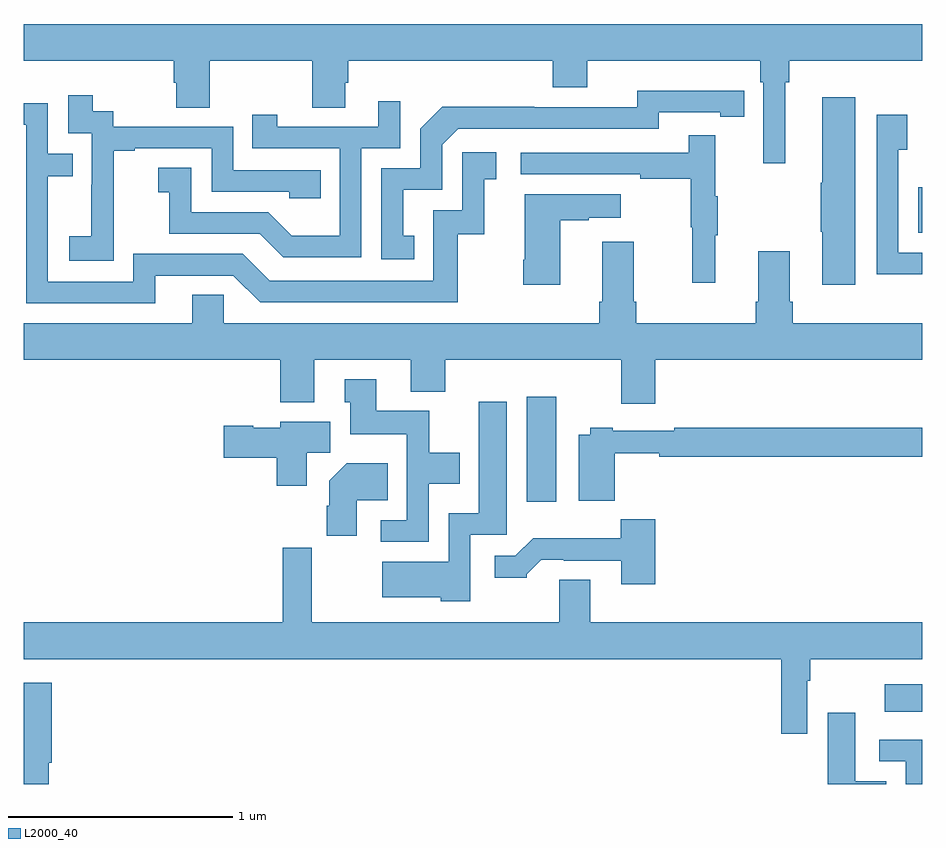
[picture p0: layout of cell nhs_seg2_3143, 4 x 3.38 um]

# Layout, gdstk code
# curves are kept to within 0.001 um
import gdstk
lib = gdstk.Library(unit=1e-6, precision=1e-09)
def R(c, l, rs):  # rectangles x0, y0, x1, y1
    for r in rs: c.add(gdstk.rectangle(r[:2], r[2:], *l))
def P(c, l, *ps):  # polygons
    for p in ps: c.add(gdstk.Polygon(p, *l))
L2000_40 = (2000, 40)

nhs_seg2_3143 = lib.new_cell('nhs_seg2_3143')
R(nhs_seg2_3143, L2000_40, [(280.833,594.122,281,594.244), (279.239,595.056,279.37,595.525), (280.982,596.255,281,596.458)])
P(nhs_seg2_3143, L2000_40, [(280.39,596.924),(280.409,596.924),(280.409,597.02),(281,597.02),(281,597.184),(277,597.184),(277,597.02),(277.667,597.02),(277.667,596.922),(277.679,596.922),(277.679,596.812),(277.827,596.812),(277.827,597.02),(278.284,597.02),(278.284,596.812),(278.431,596.812),(278.431,596.922),(278.444,596.922),(278.444,597.02),(279.356,597.02),(279.356,596.903),(279.508,596.903),(279.508,597.02),(280.28,597.02),(280.28,596.924),(280.293,596.924),(280.293,596.565),(280.39,596.565)],
  [(278.738,596.241),(278.689,596.241),(278.689,596.445),(278.862,596.445),(278.862,596.646),(278.934,596.718),(279.828,596.718),(279.828,596.79),(280.1,596.79),(280.1,596.77),(280.208,596.77),(280.208,596.886),(279.732,596.887),(279.732,596.814),(279.272,596.814),(279.272,596.816),(278.864,596.816),(278.766,596.718),(278.766,596.541),(278.592,596.541),(278.592,596.136),(278.738,596.136)],
  [(277.401,596.335),(277.4,596.335),(277.4,596.619),(277.495,596.619),(277.495,596.631),(277.836,596.631),(277.836,596.436),(278.181,596.436),(278.181,596.409),(278.321,596.409),(278.321,596.532),(277.932,596.532),(277.932,596.727),(277.398,596.727),(277.398,596.796),(277.306,596.796),(277.306,596.866),(277.197,596.866),(277.197,596.697),(277.302,596.697),(277.302,596.468),(277.301,596.468),(277.301,596.239),(277.203,596.239),(277.203,596.129),(277.401,596.129)],
  [(280.702,596.857),(280.556,596.857),(280.556,596.477),(280.549,596.477),(280.549,596.26),(280.556,596.26),(280.556,596.022),(280.702,596.022)],
  [(278.502,596.631),(278.676,596.631),(278.676,596.839),(278.579,596.839),(278.579,596.727),(278.128,596.727),(278.128,596.779),(278.017,596.779),(278.017,596.631),(278.406,596.631),(278.406,596.242),(278.192,596.242),(278.088,596.346),(277.746,596.346),(277.746,596.545),(277.599,596.545),(277.599,596.435),(277.648,596.435),(277.648,596.25),(278.051,596.25),(278.156,596.145),(278.502,596.145)],
  [(277.585,596.064),(277.932,596.064),(278.052,595.944),(278.932,595.944),(278.932,596.247),(279.05,596.247),(279.05,596.493),(279.103,596.493),(279.103,596.614),(278.952,596.614),(278.952,596.355),(278.823,596.355),(278.823,596.04),(278.094,596.04),(277.974,596.16),(277.488,596.16),(277.488,596.037),(277.107,596.037),(277.107,596.506),(277.217,596.506),(277.217,596.607),(277.107,596.607),(277.107,596.832),(277,596.832),(277,596.736),(277.011,596.736),(277.011,595.941),(277.585,595.941)],
  [(281,596.166),(280.893,596.166),(280.893,596.623),(280.933,596.623),(280.933,596.779),(280.797,596.779),(280.797,596.069),(281,596.069)],
  [(280.079,596.243),(280.09,596.243),(280.09,596.417),(280.079,596.417),(280.079,596.689),(279.961,596.689),(279.961,596.61),(279.213,596.61),(279.213,596.514),(279.745,596.514),(279.745,596.494),(279.969,596.494),(279.969,596.28),(279.976,596.28),(279.976,596.031),(280.079,596.031)],
  [(279.388,596.311),(279.515,596.311),(279.515,596.321),(279.658,596.321),(279.658,596.425),(279.23,596.425),(279.23,596.134),(279.223,596.134),(279.223,596.022),(279.388,596.022)],
  [(279.812,595.688),(281,595.688),(281,595.852),(280.424,595.852),(280.424,595.948),(280.411,595.948),(280.411,596.173),(280.271,596.173),(280.271,595.948),(280.259,595.948),(280.259,595.852),(279.728,595.852),(279.728,595.948),(279.715,595.948),(279.715,596.215),(279.575,596.215),(279.575,595.948),(279.563,595.948),(279.563,595.852),(277.89,595.852),(277.89,595.979),(277.751,595.979),(277.751,595.852),(277,595.852),(277,595.688),(278.141,595.688),(278.141,595.499),(278.293,595.499),(278.293,595.688),(278.723,595.688),(278.723,595.547),(278.876,595.547),(278.876,595.688),(279.659,595.688),(279.659,595.494),(279.812,595.494)],
  [(278.802,595.136),(278.941,595.136),(278.941,595.276),(278.805,595.276),(278.805,595.462),(278.569,595.462),(278.569,595.603),(278.429,595.603),(278.429,595.5),(278.453,595.5),(278.453,595.358),(278.706,595.358),(278.706,594.975),(278.589,594.975),(278.589,594.879),(278.802,594.879)],
  [(278.988,594.909),(279.151,594.909),(279.151,595.501),(279.026,595.501),(279.026,595.006),(278.892,595.006),(278.892,594.79),(278.595,594.79),(278.595,594.632),(278.856,594.632),(278.856,594.614),(278.988,594.614)],
  [(278.26,595.276),(278.365,595.276),(278.365,595.414),(278.142,595.414),(278.142,595.387),(278.022,595.387),(278.022,595.395),(277.89,595.395),(277.89,595.253),(278.126,595.253),(278.126,595.128),(278.26,595.128)],
  [(279.632,595.273),(279.83,595.273),(279.83,595.258),(281,595.258),(281,595.387),(279.895,595.387),(279.895,595.374),(279.622,595.374),(279.622,595.387),(279.522,595.387),(279.522,595.354),(279.47,595.354),(279.47,595.061),(279.632,595.061)],
  [(278.482,595.064),(278.621,595.064),(278.621,595.228),(278.438,595.228),(278.36,595.15),(278.36,595.04),(278.348,595.04),(278.348,594.906),(278.482,594.906)],
  [(279.812,594.979),(279.657,594.979),(279.657,594.895),(279.268,594.895),(279.189,594.816),(279.096,594.816),(279.096,594.719),(279.24,594.719),(279.24,594.734),(279.304,594.798),(279.403,594.798),(279.403,594.795),(279.659,594.795),(279.659,594.69),(279.812,594.69)],
  [(280.488,594.26),(280.501,594.26),(280.501,594.356),(281,594.356),(281,594.52),(279.523,594.52),(279.523,594.71),(279.383,594.71),(279.383,594.52),(278.281,594.52),(278.281,594.853),(278.152,594.853),(278.152,594.52),(277,594.52),(277,594.356),(280.372,594.356),(280.372,594.024),(280.488,594.024)],
  [(277.111,593.894),(277.124,593.894),(277.124,594.25),(277,594.25),(277,593.8),(277.111,593.8)],
  [(280.841,593.812),(280.702,593.812),(280.702,594.118),(280.58,594.118),(280.58,593.8),(280.841,593.8)],
  [(281,593.997),(280.809,593.997),(280.809,593.901),(280.926,593.901),(280.926,593.8),(281,593.8)])

lib.write_gds('nhs_seg2_3143.gds')
